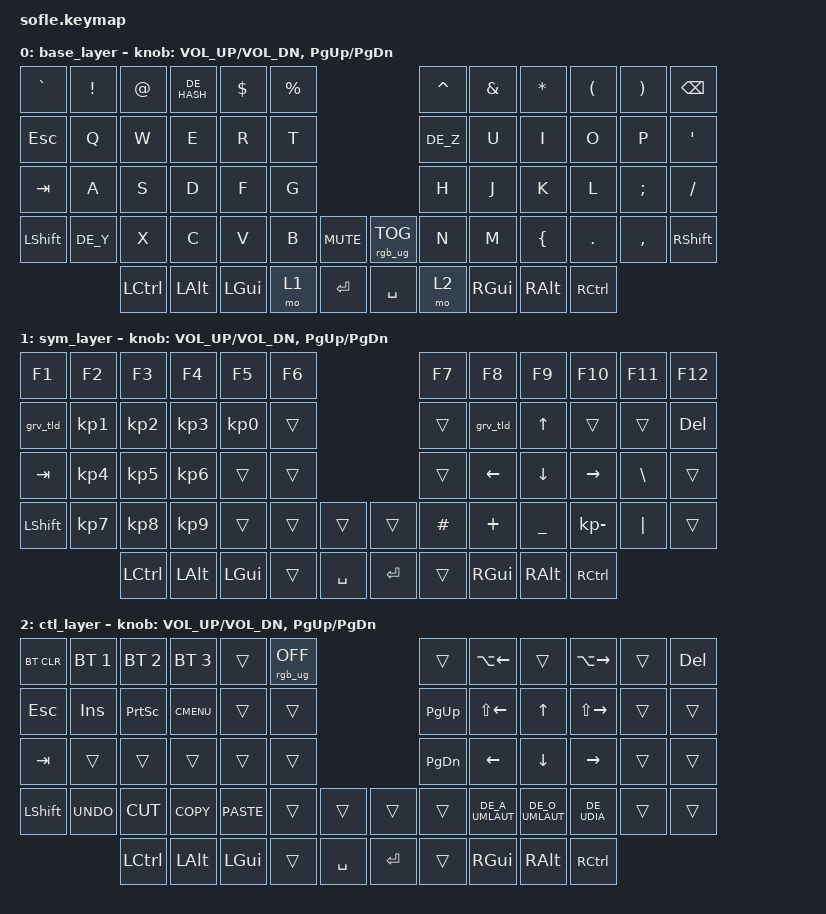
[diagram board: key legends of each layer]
/*
 * Copyright (c) 2020 The ZMK Contributors
 *
 * SPDX-License-Identifier: MIT
 *
 ***************************************************************************************************
 * German Quertz variation for Sofle Keyboards
 ***************************************************************************************************
 * Host layout: DE
 *
 *
 ***************************************************************************************************
 * Base layer:
 ***************************************************************************************************
 * ,-----------------------------------------.                    ,-----------------------------------------.
 * |  '   |   !  |   "  |   $  |   [  |   ]  |                    |   &  |   /  |   (  |   )  |   =  | Bspc |
 * |------+------+------+------+------+------|                    |------+------+------+------+------+------|
 * | ESC  |   Q  |   W  |   E  |   R  |   T  |                    |   Z  |   U  |   I  |   O  |   P  |   -  |
 * |------+------+------+------+------+------|                    |------+------+------+------+------+------|
 * | TAB  |   A  |   S  |   D  |   F  |   G  |-------.    ,-------|   H  |   J  |   K  |   L  |   ;  |   ?  |
 * |------+------+------+------+------+------| MUTE  |    | RGBON |------+------+------+------+------+------|
 * |LShift|   Y  |   X  |   C  |   V  |   B  |-------|    |-------|   N  |   M  |   .  |   {  |   }  |RShift|
 * `-----------------------------------------/       /     \      \-----------------------------------------'
 *            | LCTR | LAlt | LGUI | SYM  | /SPACE  /       \ENTER \  |CTLLYR| RGUI | RAlt | RCTR |
 *            |      |      |      |      |/       /         \      \ |      |      |      |      |
 *            `---------------------------'-------'           '------''---------------------------'
 *
 ***************************************************************************************************
 * Symbols layer:
 ***************************************************************************************************
 * ,-----------------------------------------.                    ,-----------------------------------------.
 * |  F1  |  F2  |  F3  |  F4  |  F5  |  F6  |                    |  F7  |  F8  |  F9  | F10  | F11  | F12  |
 * |------+------+------+------+------+------|                    |------+------+------+------+------+------|
 * |      |   1  |   2  |   3  |   0  |      |                    |      | ` ~  |  ^   |  *   |      | Bspc |
 * |------+------+------+------+------+------|                    |------+------+------+------+------+------|
 * | TAB  |   4  |   5  |   6  |      |      |-------.    ,-------|   #  |   +  |  <   |   >  |   |  |      |
 * |------+------+------+------+------+------|       |    |       |------+------+------+------+------+------|
 * |LShift|   7  |   8  |   9  |      |      |-------|    |-------|      |  ,   |  :   |  \   |   _  |      |
 * `-----------------------------------------/       /     \      \-----------------------------------------'
 *            | LCTR | LAlt | LGUI | BASE | /SPACE  /       \ENTER \  |      | RGUI | RAlt | RCTR |
 *            |      |      |      |      |/       /         \      \ |      |      |      |      |
 *            `---------------------------'-------'           '------''---------------------------'
 * 
 ***************************************************************************************************
 * Control Layer:
 ***************************************************************************************************
 * ,-----------------------------------------.                    ,-----------------------------------------.
 * |BT CLR| BT1  | BT2  | BT3  |      |MACWIN|                    |      |      |      |      |      | DEL  |
 * |------+------+------+------+------+------|                    |------+------+------+------+------+------|
 * | ESC  | INS  | PSCR | MENU |      |      |                    | PGUP |<-ALT |   ^  | ALT->|      |      |
 * |------+------+------+------+------+------|                    |------+------+------+------+------+------|
 * | TAB  |      |      |      |      |      |-------.    ,-------| PGDN |   <- |   v  |  ->  |      |      |
 * |------+------+------+------+------+------|       |    |       |------+------+------+------+------+------|
 * |LShift| UNDO | CUT  | COPY |PASTE |      |-------|    |-------|      |   Ä  |   Ö  |  Ü   |      |      |
 * `-----------------------------------------/       /     \      \-----------------------------------------'
 *            | LCTR | LAlt | LGUI |      | /SPACE  /       \ENTER \  | BASE | RGUI | RAlt | RCTR |
 *            |      |      |      |      |/       /         \      \ |      |      |      |      |
 *            `---------------------------'-------'           '------''---------------------------'
 *
 * - `BT 0-3`: Select the x bluetooth profile
 * - `BT CLR`: Clear bond between the keyboard and the host for the selected profile
 ***************************************************************************************************
 * Notes:
 ***************************************************************************************************
 * - Double tap on SHIFT key toggles CAPS_LOCK
 */

#include "keys_de.h"
#include <behaviors.dtsi>
#include <dt-bindings/zmk/bt.h>
#include <dt-bindings/zmk/keys.h>
#include <dt-bindings/zmk/rgb.h>

/ {
    behaviors {
        sqt_dqt: de-sqt-dqt {
            compatible = "zmk,behavior-mod-morph";
            label = "DE_SQT_DQT";
            #binding-cells = <0>;
            bindings = <&kp DE_QUOT>, <&kp DE_DQUO>;

            mods = <(LSHIFT|RSHIFT)>;
        };

        grv_tld: de-grv_tld {
            compatible = "zmk,behavior-mod-morph";
            label = "DE_GRV_TLD";
            #binding-cells = <0>;
            bindings = <&kp DE_GRV>, <&kp DE_TILD>;

            mods = <(LSHIFT|RSHIFT)>;
        };
    };

    macros {
        new_macro: new_macro {
            compatible = "zmk,behavior-macro";
            #binding-cells = <0>;
            bindings = <&none>;
            label = "NEW_MACRO";
        };
    };

    keymap {
        compatible = "zmk,keymap";

        base_layer {
            bindings = <
&kp GRAVE  &kp EXCL  &kp AT     &kp DE_HASH  &kp DOLLAR  &kp PERCENT                               &kp CARET  &kp AMPS  &kp ASTRK  &kp LPAR   &kp RPAR       &kp BSPC
&kp ESC    &kp Q     &kp W      &kp E        &kp R       &kp T                                     &kp DE_Z   &kp U     &kp I      &kp O      &kp P          &kp APOS
&kp TAB    &kp A     &kp S      &kp D        &kp F       &kp G                                     &kp H      &kp J     &kp K      &kp L      &kp SEMICOLON  &kp FSLH
&kp LSHFT  &kp DE_Y  &kp X      &kp C        &kp V       &kp B        &kp C_MUTE  &rgb_ug RGB_TOG  &kp N      &kp M     &kp LBRC   &kp DOT    &kp COMMA      &kp RSHFT
                     &kp LCTRL  &kp LALT     &kp LGUI    &mo 1        &kp RET     &kp SPACE        &mo 2      &kp RGUI  &kp RALT   &kp RCTRL
            >;

            sensor-bindings = <&inc_dec_kp C_VOL_UP C_VOL_DN &inc_dec_kp PG_UP PG_DN>;
        };

        sym_layer {
            bindings = <
&kp F1     &kp F2     &kp F3     &kp F4     &kp F5     &kp F6                      &kp F7    &kp F8          &kp F9          &kp F10       &kp F11        &kp F12
&grv_tld   &kp KP_N1  &kp KP_N2  &kp KP_N3  &kp KP_N0  &trans                      &trans    &grv_tld        &kp UP          &trans        &trans         &kp DELETE
&kp TAB    &kp KP_N4  &kp KP_N5  &kp KP_N6  &trans     &trans                      &trans    &kp LEFT_ARROW  &kp DOWN_ARROW  &kp RIGHT     &kp BACKSLASH  &trans
&kp LSHFT  &kp KP_N7  &kp KP_N8  &kp KP_N9  &trans     &trans  &trans     &trans   &kp HASH  &kp PLUS        &kp UNDER       &kp KP_MINUS  &kp PIPE       &trans
                      &kp LCTRL  &kp LALT   &kp LGUI   &trans  &kp SPACE  &kp RET  &trans    &kp RGUI        &kp RALT        &kp RCTRL
            >;

            sensor-bindings = <&inc_dec_kp C_VOL_UP C_VOL_DN &inc_dec_kp PG_UP PG_DN>;
        };

        ctl_layer {
            bindings = <
&bt BT_CLR  &bt BT_SEL 1  &bt BT_SEL 2  &bt BT_SEL 3  &trans       &rgb_ug RGB_OFF                      &trans     &kp LA(LEFT)     &trans           &kp LA(RIGHT)  &trans  &kp DEL
&kp ESC     &kp INS       &kp PSCRN     &kp K_CMENU   &trans       &trans                               &kp PG_UP  &kp LS(LEFT)     &kp UP           &kp LS(RIGHT)  &trans  &trans
&kp TAB     &trans        &trans        &trans        &trans       &trans                               &kp PG_DN  &kp LEFT         &kp DOWN         &kp RIGHT      &trans  &trans
&kp LSHFT   &kp K_UNDO    &kp K_CUT     &kp K_COPY    &kp K_PASTE  &trans           &trans     &trans   &trans     &kp DE_A_UMLAUT  &kp DE_O_UMLAUT  &kp DE_UDIA    &trans  &trans
                          &kp LCTRL     &kp LALT      &kp LGUI     &trans           &kp SPACE  &kp RET  &trans     &kp RGUI         &kp RALT         &kp RCTRL
            >;

            sensor-bindings = <&inc_dec_kp C_VOL_UP C_VOL_DN &inc_dec_kp PG_UP PG_DN>;
        };
    };
};
